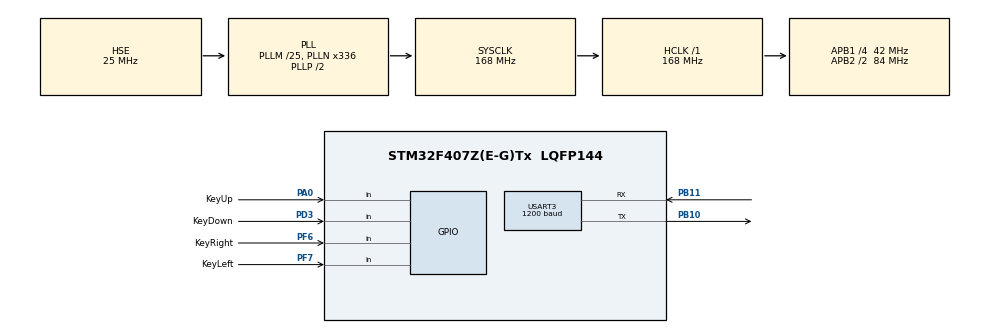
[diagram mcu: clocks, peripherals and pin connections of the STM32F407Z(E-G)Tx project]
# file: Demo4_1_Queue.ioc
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FREERTOS.Queues01=Queue_Keys,10,uint8_t,0,Dynamic,NULL,NULL
FREERTOS.Tasks01=Task_Count,16,128,AppTask_Count,Default,NULL,Dynamic,NULL,NULL;Task_ScanKeys,24,128,AppTask_ScanKeys,Default,NULL,Dynamic,NULL,NULL
FREERTOS.configUSE_NEWLIB_REENTRANT=1
Mcu.Family=STM32F4
Mcu.Name=STM32F407Z(E-G)Tx
Mcu.Package=LQFP144
NVIC.PriorityGroup=NVIC_PRIORITYGROUP_4
NVIC.TIM6_DAC_IRQn=true\:15\:0\:false\:false\:true\:false\:false\:true\:true
NVIC.TimeBase=TIM6_DAC_IRQn
NVIC.TimeBaseIP=TIM6
PA0-WKUP.GPIO_Label=KeyUp
PA0-WKUP.GPIO_PuPd=GPIO_PULLUP
PA0-WKUP.Signal=GPIO_Input
PA13.Mode=Serial_Wire
PA13.Signal=SYS_JTMS-SWDIO
PA14.Mode=Serial_Wire
PA14.Signal=SYS_JTCK-SWCLK
PB10.Mode=Asynchronous
PB10.Signal=USART3_TX
PB11.Mode=Asynchronous
PB11.Signal=USART3_RX
PD3.GPIO_Label=KeyDown
PD3.GPIO_PuPd=GPIO_PULLUP
PD3.Signal=GPIO_Input
PF6.GPIO_Label=KeyRight
PF6.GPIO_PuPd=GPIO_PULLUP
PF6.Signal=GPIO_Input
PF7.GPIO_Label=KeyLeft
PF7.GPIO_PuPd=GPIO_PULLUP
PF7.Signal=GPIO_Input
PH0-OSC_IN.Mode=HSE-External-Oscillator
PH0-OSC_IN.Signal=RCC_OSC_IN
PH1-OSC_OUT.Mode=HSE-External-Oscillator
PH1-OSC_OUT.Signal=RCC_OSC_OUT
ProjectManager.HeapSize=0x200
ProjectManager.StackSize=0x400
ProjectManager.TargetToolchain=STM32CubeIDE
RCC.48MHZClocksFreq_Value=84000000
RCC.AHBFreq_Value=168000000
RCC.APB1CLKDivider=RCC_HCLK_DIV4
RCC.APB1Freq_Value=42000000
RCC.APB1TimFreq_Value=84000000
RCC.APB2CLKDivider=RCC_HCLK_DIV2
RCC.APB2Freq_Value=84000000
RCC.APB2TimFreq_Value=168000000
RCC.CortexFreq_Value=168000000
RCC.HCLKFreq_Value=168000000
RCC.HSE_VALUE=25000000
RCC.HSI_VALUE=16000000
RCC.LSE_VALUE=32768
RCC.PLLM=25
RCC.PLLN=336
RCC.PLLSourceVirtual=RCC_PLLSOURCE_HSE
RCC.SYSCLKFreq_VALUE=168000000
RCC.SYSCLKSource=RCC_SYSCLKSOURCE_PLLCLK
RCC.VCOOutputFreq_Value=336000000
USART3.BaudRate=1200
USART3.VirtualMode=VM_ASYNC
VP_FREERTOS_VS_CMSIS_V2.Mode=CMSIS_V2
VP_SYS_VS_tim6.Mode=TIM6
board=custom

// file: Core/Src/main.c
/* USER CODE BEGIN Header */
/**
  ******************************************************************************
  * @file           : main.c
  * @brief          : Main program body
  ******************************************************************************
  * @attention
  *
  * Copyright (c) 2025 STMicroelectronics.
  * All rights reserved.
  *
  * This software is licensed under terms that can be found in the LICENSE file
  * in the root directory of this software component.
  * If no LICENSE file comes with this software, it is provided AS-IS.
  *
  ******************************************************************************
  */
/* USER CODE END Header */
#include "main.h"
#include "cmsis_os.h"
#include "usart.h"
#include "gpio.h"

void SystemClock_Config(void);
void MX_FREERTOS_Init(void);

int main(void)
{

  /* MCU Configuration--------------------------------------------------------*/

  /* Reset of all peripherals, Initializes the Flash interface and the Systick. */
  HAL_Init();

  /* Configure the system clock */
  SystemClock_Config();

  /* Initialize all configured peripherals */
  MX_GPIO_Init();
  MX_USART3_UART_Init();
  /* USER CODE BEGIN 2 */
  uint8_t startstr[] = "Demo4-1_Queue: test queue.\r\n\r\n";
  HAL_UART_Transmit(&huart3,startstr,sizeof(startstr),0xFFFF);
  /* USER CODE END 2 */

  /* Init scheduler */
  osKernelInitialize();

  /* Call init function for freertos objects (in cmsis_os2.c) */
  MX_FREERTOS_Init();

  /* Start scheduler */
  osKernelStart();

  /* We should never get here as control is now taken by the scheduler */

  /* Infinite loop */
  while (1)
  {

  }
}

void SystemClock_Config(void)
{
  RCC_OscInitTypeDef RCC_OscInitStruct = {0};
  RCC_ClkInitTypeDef RCC_ClkInitStruct = {0};

  /** Configure the main internal regulator output voltage
  */
  __HAL_RCC_PWR_CLK_ENABLE();
  __HAL_PWR_VOLTAGESCALING_CONFIG(PWR_REGULATOR_VOLTAGE_SCALE1);

  /** Initializes the RCC Oscillators according to the specified parameters
  * in the RCC_OscInitTypeDef structure.
  */
  RCC_OscInitStruct.OscillatorType = RCC_OSCILLATORTYPE_HSE;
  RCC_OscInitStruct.HSEState = RCC_HSE_ON;
  RCC_OscInitStruct.PLL.PLLState = RCC_PLL_ON;
  RCC_OscInitStruct.PLL.PLLSource = RCC_PLLSOURCE_HSE;
  RCC_OscInitStruct.PLL.PLLM = 25;
  RCC_OscInitStruct.PLL.PLLN = 336;
  RCC_OscInitStruct.PLL.PLLP = RCC_PLLP_DIV2;
  RCC_OscInitStruct.PLL.PLLQ = 4;
  if (HAL_RCC_OscConfig(&RCC_OscInitStruct) != HAL_OK)
  {
    Error_Handler();
  }

  /** Initializes the CPU, AHB and APB buses clocks
  */
  RCC_ClkInitStruct.ClockType = RCC_CLOCKTYPE_HCLK|RCC_CLOCKTYPE_SYSCLK
                              |RCC_CLOCKTYPE_PCLK1|RCC_CLOCKTYPE_PCLK2;
  RCC_ClkInitStruct.SYSCLKSource = RCC_SYSCLKSOURCE_PLLCLK;
  RCC_ClkInitStruct.AHBCLKDivider = RCC_SYSCLK_DIV1;
  RCC_ClkInitStruct.APB1CLKDivider = RCC_HCLK_DIV4;
  RCC_ClkInitStruct.APB2CLKDivider = RCC_HCLK_DIV2;

  if (HAL_RCC_ClockConfig(&RCC_ClkInitStruct, FLASH_LATENCY_5) != HAL_OK)
  {
    Error_Handler();
  }
}

void HAL_TIM_PeriodElapsedCallback(TIM_HandleTypeDef *htim)
{
  if (htim->Instance == TIM6)
  {
    HAL_IncTick();
  }
}

void Error_Handler(void)
{
  __disable_irq();
  while (1)
  {
  }
}

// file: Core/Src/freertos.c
/* USER CODE BEGIN Header */
/**
  ******************************************************************************
  * File Name          : freertos.c
  * Description        : Code for freertos applications
  ******************************************************************************
  * @attention
  *
  * Copyright (c) 2025 STMicroelectronics.
  * All rights reserved.
  *
  * This software is licensed under terms that can be found in the LICENSE file
  * in the root directory of this software component.
  * If no LICENSE file comes with this software, it is provided AS-IS.
  *
  ******************************************************************************
  */
/* USER CODE END Header */

#include "FreeRTOS.h"
#include "task.h"
#include "main.h"
#include "cmsis_os.h"

/* USER CODE BEGIN Includes */
#include "keyled.h"
#include "queue.h"
#include <stdio.h>
#include "usart.h"
/* USER CODE END Includes */

/* Definitions for Task_Count */
osThreadId_t Task_CountHandle;
const osThreadAttr_t Task_Count_attributes = {
  .name = "Task_Count",
  .stack_size = 128 * 4,
  .priority = (osPriority_t) osPriorityBelowNormal,
};
/* Definitions for Task_ScanKeys */
osThreadId_t Task_ScanKeysHandle;
const osThreadAttr_t Task_ScanKeys_attributes = {
  .name = "Task_ScanKeys",
  .stack_size = 128 * 4,
  .priority = (osPriority_t) osPriorityNormal,
};
/* Definitions for Queue_Keys */
osMessageQueueId_t Queue_KeysHandle;
const osMessageQueueAttr_t Queue_Keys_attributes = {
  .name = "Queue_Keys"
};

void AppTask_Count(void *argument);
void AppTask_ScanKeys(void *argument);

void MX_FREERTOS_Init(void); /* (MISRA C 2004 rule 8.1) */

void MX_FREERTOS_Init(void) {

  /* Create the queue(s) */
  /* creation of Queue_Keys */
  Queue_KeysHandle = osMessageQueueNew (10, sizeof(uint8_t), &Queue_Keys_attributes);

  /* Create the thread(s) */
  /* creation of Task_Count */
  Task_CountHandle = osThreadNew(AppTask_Count, NULL, &Task_Count_attributes);

  /* creation of Task_ScanKeys */
  Task_ScanKeysHandle = osThreadNew(AppTask_ScanKeys, NULL, &Task_ScanKeys_attributes);

}

void AppTask_Count(void *argument)
{
  /* USER CODE BEGIN AppTask_Count */
	// Read queue information
	const char* qName=pcQueueGetName(Queue_KeysHandle);
	printf("Queue Name = %s.\r\n",qName);

	UBaseType_t qSpaces=uxQueueSpacesAvailable(Queue_KeysHandle);
	printf("Queue Size = %ld.\r\n\r\n",qSpaces);

	UBaseType_t msgCount=0, freeSpace=0;
	uint8_t count_keyleft_pressed=0;
	uint8_t count_keyright_pressed=0;
	uint8_t count_keyup_pressed=0;
	uint8_t count_keydown_pressed=0;
	KEYS  keyCode;
	/* Infinite loop */
	for(;;)
	{
		msgCount=uxQueueMessagesWaiting(Queue_KeysHandle);  	//messages Count
		printf("Number of messages in the queue = %ld.\r\n",msgCount);
		freeSpace=uxQueueSpacesAvailable(Queue_KeysHandle); 		//freeSpace
		printf("free space in the queue = %ld.\r\n",freeSpace);
		// read
		BaseType_t  result=xQueueReceive(Queue_KeysHandle, &keyCode, pdMS_TO_TICKS(50));
		if (result != pdTRUE)
			continue;

		// read messages and process.
		if (keyCode==KEY_LEFT){
			count_keyleft_pressed++;
			printf("count_keyleft_pressed = %d.\r\n",count_keyleft_pressed);}
		else if (keyCode==KEY_RIGHT){
			count_keyright_pressed++;
			printf("count_keyright_pressed = %d.\r\n",count_keyright_pressed);}
		else if (keyCode==KEY_UP){
			count_keyup_pressed++;
			printf("count_keyup_pressed = %d.\r\n",count_keyup_pressed);}
		else if (keyCode==KEY_DOWN){
			count_keydown_pressed++;
			printf("count_keydown_pressed = %d.\r\n",count_keydown_pressed);}

		vTaskDelay(pdMS_TO_TICKS(500));
	}
  /* USER CODE END AppTask_Count */
}

/* USER CODE BEGIN Header_AppTask_ScanKeys */
/**
* @brief Function implementing the Task_ScanKeys thread.
* @Scan the key and write to the queue.
* @After writen, vTaskDelay(300) is called,
* @to be used to de-jitter, and at the same time turn the task into blocking state.
* @Low priority tasks into the running state, read and process messages in the queue timely.
* @param argument: Not used
* @retval None
*/
/* USER CODE END Header_AppTask_ScanKeys */
void AppTask_ScanKeys(void *argument)
{
  /* USER CODE BEGIN AppTask_ScanKeys */
	GPIO_PinState keyState=GPIO_PIN_SET;
	KEYS  key=KEY_NONE;
	/* Infinite loop */
	for(;;)
	{
		key=KEY_NONE;
		//S5=KeyRight
		keyState=HAL_GPIO_ReadPin(KeyRight_GPIO_Port, KeyRight_Pin);
		if (keyState==GPIO_PIN_RESET)
			key=KEY_RIGHT;

		//S3=KeyDown
		keyState=HAL_GPIO_ReadPin(KeyDown_GPIO_Port, KeyDown_Pin);
		if (keyState==GPIO_PIN_RESET)
			key=KEY_DOWN;

		//S4=KeyLeft
		keyState=HAL_GPIO_ReadPin(KeyLeft_GPIO_Port, KeyLeft_Pin);
		if (keyState==GPIO_PIN_RESET)
			key=KEY_LEFT;

		//S2=KeyUp
		keyState=HAL_GPIO_ReadPin(KeyUp_GPIO_Port, KeyUp_Pin);
		if (keyState==GPIO_PIN_RESET)
			key=KEY_UP;

		//key pressed.
		if (key != KEY_NONE)
		{
			BaseType_t err= xQueueSendToBack(Queue_KeysHandle, &key, pdMS_TO_TICKS(50));
			if (err == errQUEUE_FULL)  				//Reset once the queue is full.
				xQueueReset(Queue_KeysHandle);
			vTaskDelay(pdMS_TO_TICKS(300)); 	//It will take at least 300 to de-jitter and perform task scheduling.
		}
		else
			vTaskDelay(pdMS_TO_TICKS(5)); 		//vTaskDelay() in for(;;) loop , turned into blocking state.
	}
  /* USER CODE END AppTask_ScanKeys */
}

/* USER CODE BEGIN Application */
int __io_putchar(int ch)
{
	HAL_UART_Transmit(&huart3,(uint8_t*)&ch,1,0xFFFF);
	return ch;
}
/* USER CODE END Application */
